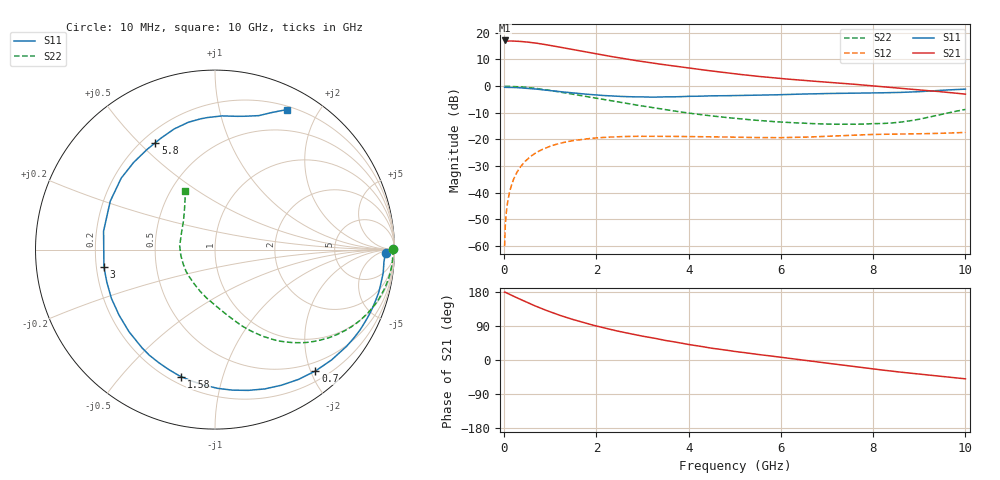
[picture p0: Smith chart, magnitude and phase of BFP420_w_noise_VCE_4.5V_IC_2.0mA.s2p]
! Infineon Technologies  Discrete & RF Semiconductors
! BFP420
! VCE =  4.5 V,  IC =  2.0 mA
! Common Emitter S-Parameters:  Jan 2016
# GHz  S  MA  R  50
!  f  S11  S21  S12  S22
! GHz  MAG  ANG  MAG  ANG  MAG  ANG  MAG  ANG
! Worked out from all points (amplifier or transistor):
!   233 points, 10 MHz to 10 GHz, reference 50 ohm
!   highest |S21| = 17.1 dB at 10 MHz (marker M1)
!   |S21| within 3 dB of that: start of sweep to 1.36 GHz
!   unconditionally stable (mu >= 1): 3.935 GHz to end of sweep
!   at 200 MHz: K = 0.07, MSG = 26.0 dB, |S12| = -35.1 dB
!   at 1.74 GHz: K = 0.35, MSG = 16.4 dB, |S12| = -19.9 dB
!   at 10 GHz: K = 1.22, MAG = 4.4 dB, |S12| = -17.4 dB
!   lowest NFmin = 0.53 dB at 900 MHz
!   S11 on the Smith chart (normalised r, x): 10 MHz: 35, -12; 700 MHz: 0.35, -2.08; 1.58 GHz: 0.24, -0.74; 3 GHz: 0.23, -0.07; 5.8 GHz: 0.25, +0.56; 10 GHz: 0.24, +1.61
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0.01  0.9501 -1.0  7.155 179.1  0.001 23.5  0.9917 0.1
0.02  0.9503 -1.5  6.94 179.0  0.002 63.6  0.9911 -0.7
0.06  0.9439 -4.4  6.975 176.5  0.0054 76.2  0.9913 -2.2
0.17  0.9431 -12.4  6.984 170.3  0.0149 79.7  0.9864 -6.6
0.3  0.9341 -21.9  6.906 162.9  0.0261 75.9  0.9744 -11.5
0.45  0.9169 -32.7  6.747 154.6  0.0384 70.4  0.9525 -17.0
0.7  0.8777 -50.4  6.367 141.3  0.0568 61.0  0.9011 -25.8
0.9  0.8414 -63.9  5.975 131.5  0.0692 54.1  0.8527 -32.0
1.1  0.806 -76.7  5.574 122.6  0.0797 47.8  0.8018 -37.8
1.3  0.7732 -88.9  5.181 114.2  0.0883 42.0  0.7507 -43.0
1.58  0.7321 -104.9  4.672 103.6  0.0974 34.8  0.6824 -49.4
1.68  0.7176 -110.4  4.507 100.1  0.1002 32.4  0.6597 -51.5
1.94  0.6881 -123.7  4.092 91.5  0.1058 26.9  0.6037 -56.5
2.3  0.6528 -140.9  3.608 80.9  0.1108 20.2  0.5342 -62.6
3  0.6265 -171.0  2.879 62.9  0.1146 9.8  0.4227 -73.3
3.4  0.6236 174.2  2.562 54.0  0.1143 5.4  0.372 -79.3
4  0.6429 155.2  2.184 40.9  0.1134 0.3  0.3115 -89.6
5.1  0.665 131.3  1.659 21.2  0.1098 -5.5  0.2439 -110.7
5.8  0.682 119.2  1.438 10.3  0.1082 -6.8  0.2169 -125.6
6.8  0.7176 104.5  1.218 -5.1  0.1125 -7.7  0.1963 -150.1
8.4  0.7529 80.5  0.934 -29.4  0.1255 -14.3  0.2033 159.0
10  0.8763 62.8  0.706 -49.7  0.1353 -19.3  0.3656 116.9
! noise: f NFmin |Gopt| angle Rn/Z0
0.9  0.53  0.47  33  0.22
1.8  1.03  0.29  77  0.17
2.4  1.13  0.31  102  0.16
3  1.32  0.31  136  0.12
4  1.57  0.37  -168  0.1
5  1.96  0.42  -129  0.28
6  2.72  0.51  -111  0.37
